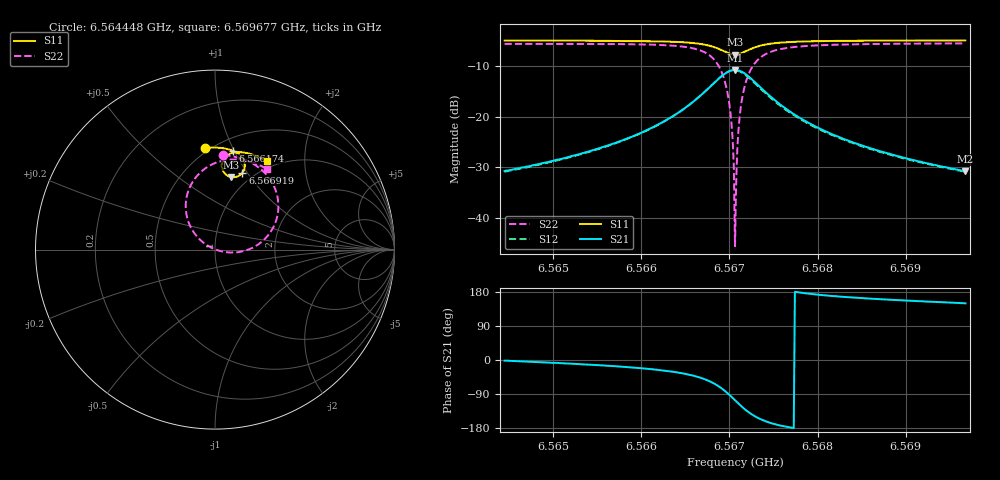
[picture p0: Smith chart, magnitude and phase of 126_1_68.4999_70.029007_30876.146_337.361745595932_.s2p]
#  HZ  S  RI  R  50.00
! Rohde & Schwarz Vector Network Analyzer
! Rohde-Schwarz,ZNB20-2Port,1311601062101988,3.16
! Created: UTC 3/20/2024, 4:54:10 PM
! freq[Hz]  re:S11  im:S11  re:S21  im:S21  re:S12  im:S12  re:S22  im:S22
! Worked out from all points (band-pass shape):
!   401 points, 6.564448 GHz to 6.569677 GHz, reference 50 ohm
!   highest |S21| = -10.69 dB at 6.567063 GHz (marker M1); lowest = -30.7 dB at 6.569677 GHz (marker M2)
!   |S21| within 3 dB of the highest: 6.566801 GHz to 6.567323 GHz (522.8 kHz wide, 0.00796 % of centre)
!   lowest |S11| = -7.7 dB at 6.567063 GHz (marker M3), VSWR 2.41, Z = 41.6 + j40.6 ohm
!   |S11| at or under -10 dB: nowhere
!   |S22| runs from -45.6 to -5.4 dB; largest |S21 - S12| = 0.014
!   S11 on the Smith chart (normalised r, x): 6.564448 GHz: 0.47, +0.79; 6.566174 GHz: 0.61, +0.99; 6.566919 GHz: 0.88, +0.95; 6.569677 GHz: 0.90, +1.31
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6.5644483e9  -0.0553 0.5666  0.0291 -0.000856  0.0286 -0.00137  0.0468 0.5264
6.5653241e9  0.0171 0.5678  0.0428 -0.00848  0.0421 -0.00897  0.1315 0.5117
6.5661737e9  0.0982 0.5518  0.0745 -0.0358  0.0733 -0.0366  0.2481 0.454
6.5661999e9  0.1011 0.5505  0.0762 -0.0376  0.075 -0.0384  0.2529 0.4502
6.5667097e9  0.1611 0.4953  0.1122 -0.1334  0.1095 -0.136  0.3522 0.2636
6.5668273e9  0.1656 0.4615  0.101 -0.1925  0.096 -0.1964  0.3363 0.1505
6.5669188e9  0.1526 0.4286  0.0611 -0.2489  0.0522 -0.2519  0.263 0.0458
6.5669972e9  0.1224 0.4065  -0.00775 -0.2835  -0.0201 -0.2825  0.1357 -0.0132
6.5670234e9  0.1089 0.4036  -0.0365 -0.2867  -0.0495 -0.2837  0.0838 -0.0163
6.5670364e9  0.1019 0.4032  -0.0513 -0.286  -0.0644 -0.282  0.0572 -0.0138
6.5670495e9  0.0948 0.4034  -0.0662 -0.2842  -0.0789 -0.2789  0.031 -0.00857
6.5670626e9  0.0877 0.4047  -0.0809 -0.2807  -0.0934 -0.2741  0.00525 -0.000418
6.5670887e9  0.0742 0.4094  -0.1086 -0.2696  -0.1202 -0.261  -0.0424 0.023
6.5671018e9  0.068 0.4128  -0.1215 -0.262  -0.1322 -0.2524  -0.0637 0.0379
6.5671149e9  0.0624 0.4168  -0.1334 -0.2534  -0.1431 -0.2431  -0.0833 0.0547
6.567141e9  0.0527 0.4264  -0.1537 -0.2337  -0.1616 -0.2222  -0.1158 0.0924
6.5671933e9  0.0408 0.4486  -0.18 -0.1891  -0.1839 -0.1771  -0.1541 0.1739
6.5672587e9  0.0384 0.4758  -0.1899 -0.1362  -0.19 -0.1252  -0.1618 0.2676
6.567507e9  0.0767 0.5306  -0.1453 -0.0287  -0.1421 -0.0242  -0.0592 0.4487
6.5679384e9  0.1397 0.5434  -0.0832 0.00881  -0.0811 0.01  0.0801 0.5012
6.5688142e9  0.223 0.5238  -0.0405 0.0154  -0.0394 0.0157  0.2115 0.4843
6.5696769e9  0.2876 0.4935  -0.025 0.0147  -0.0246 0.0148  0.2891 0.4495
